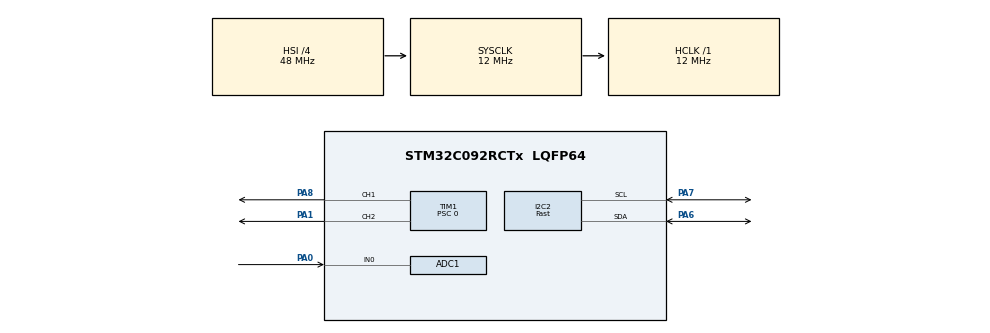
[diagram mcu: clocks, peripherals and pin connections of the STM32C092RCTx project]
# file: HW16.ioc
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ADC1.Channel-0\#ChannelRegularConversion=ADC_CHANNEL_0
ADC1.ClockPrescaler=ADC_CLOCK_SYNC_PCLK_DIV1
ADC1.NbrOfConversionFlag=1
ADC1.Overrun=ADC_OVR_DATA_PRESERVED
ADC1.Rank-0\#ChannelRegularConversion=ADC_RANK_CHANNEL_NUMBER
ADC1.SamplingTime-0\#ChannelRegularConversion=ADC_SAMPLINGTIME_COMMON_1
ADC1.SamplingTimeCommon1=ADC_SAMPLETIME_1CYCLE_5
ADC1.SamplingTimeCommon2=ADC_SAMPLETIME_1CYCLE_5
ADC1.SelectedChannel=ADC_CHANNEL_0
ADC1.TriggerFrequencyMode=ADC_TRIGGER_FREQ_HIGH
ADC1.master=1
I2C2.I2C_Coeff_DF=2
I2C2.I2C_Fall_Time=10
I2C2.I2C_Speed_Mode=I2C_Fast
I2C2.Timing=0x00402D41
Mcu.Family=STM32C0
Mcu.Name=STM32C092RCTx
Mcu.Package=LQFP64
NUCLEO-C092RC.BUTTON=1
NUCLEO-C092RC.LD1=true
NUCLEO-C092RC.LD2=true
NUCLEO-C092RC.VCP=true
NVIC.EXTI4_15_IRQn=true\:0\:0\:false\:false\:true\:false\:true\:true
NVIC.TIM2_IRQn=true\:3\:0\:false\:false\:true\:true\:true\:true
PA0.Mode=IN0
PA0.Signal=ADC1_IN0
PA1.Signal=S_TIM1_CH2
PA13.GPIO_Label=SWDIO
PA13.Signal=DEBUG_SWDIO
PA14-BOOT0.GPIO_Label=SWCLK
PA14-BOOT0.Signal=DEBUG_SWCLK
PA2.Signal=USART2_TX
PA3.Signal=USART2_RX
PA6.GPIO_Pu=GPIO_PULLUP
PA6.GPIO_Speed=GPIO_SPEED_FREQ_HIGH
PA6.Mode=I2C
PA6.Signal=I2C2_SDA
PA7.GPIO_Pu=GPIO_PULLUP
PA7.GPIO_Speed=GPIO_SPEED_FREQ_HIGH
PA7.Mode=I2C
PA7.Signal=I2C2_SCL
PA8.Signal=S_TIM1_CH1
PC14-OSCX_IN(PC14).GPIO_Label=OSCX_IN
PC14-OSCX_IN(PC14).Signal=RCC_OSCX_IN
PC15-OSCX_OUT(PC15).GPIO_Label=OSCX_OUT
PC15-OSCX_OUT(PC15).Signal=RCC_OSCX_OUT
PF0-OSC_IN(PF0).GPIO_Label=OSC_IN
PF0-OSC_IN(PF0).Signal=RCC_OSC_IN
PF1-OSC_OUT(PF1).GPIO_Label=OSC_OUT
PF1-OSC_OUT(PF1).Signal=RCC_OSC_OUT
ProjectManager.HeapSize=0x200
ProjectManager.StackSize=0x400
ProjectManager.TargetToolchain=CMake
RCC.ADCFreq_Value=12000000
RCC.AHBFreq_Value=12000000
RCC.CortexFreq_Value=12000000
RCC.EXTERNAL_CLOCK_VALUE=12288000
RCC.HCLKFreq_Value=12000000
RCC.HSE_VALUE=8000000
RCC.HSISYSCLKDivider=RCC_HSI_DIV4
RCC.HSI_VALUE=48000000
RCC.LSE_VALUE=32768
RCC.SYSCLKFreq_VALUE=12000000
SH.S_TIM1_CH1.0=TIM1_CH1,PWM Generation1 CH1
SH.S_TIM1_CH2.0=TIM1_CH2,PWM Generation2 CH2
TIM1.Channel-PWM\ Generation1\ CH1=TIM_CHANNEL_1
TIM1.Channel-PWM\ Generation2\ CH2=TIM_CHANNEL_2
TIM1.CounterMode=TIM_COUNTERMODE_UP
TIM1.Period=2399
TIM1.Prescaler=0
TIM1.Pulse-PWM\ Generation1\ CH1=0
TIM1.Pulse-PWM\ Generation2\ CH2=0
TIM2.CounterMode=TIM_COUNTERMODE_UP
TIM2.Period=999
TIM2.Prescaler=11
VP_NUCLEO-C092RC_VS_BSP_COMMON.Mode=COMMON
VP_TIM1_VS_ClockSourceINT.Mode=Internal
VP_TIM2_VS_ClockSourceINT.Mode=Internal
board=NUCLEO-C092RC

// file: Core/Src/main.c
/* USER CODE BEGIN Header */
/**
  ******************************************************************************
  * @file           : main.c
  * @brief          : Main program body
  ******************************************************************************
  * @attention
  *
  * Copyright (c) 2026 STMicroelectronics.
  * All rights reserved.
  *
  * This software is licensed under terms that can be found in the LICENSE file
  * in the root directory of this software component.
  * If no LICENSE file comes with this software, it is provided AS-IS.
  *
  ******************************************************************************
  */
/* USER CODE END Header */
#include "main.h"

/* USER CODE BEGIN PD */
#define INA219_ADDR 0x40
#define INA219_REG_CONFIG 0x00
#define INA219_REG_SHUNT_VOLTAGE 0x01
#define INA219_REG_BUS_VOLTAGE 0x02
#define INA219_REG_POWER 0x03
#define INA219_REG_CURRENT 0x04
#define INA219_REG_CALIBRATION 0x05

#define ADC_SAFE_MIN 250U
#define ADC_SAFE_MAX (4095U - ADC_SAFE_MIN)
#define PWM_PERIOD_COUNTS 2399U
#define PWM_OFF_COUNTS (PWM_PERIOD_COUNTS + 1U)
#define CONTROL_SAMPLES 800U
#define CONTROL_SEGMENT_SAMPLES 200U
#define DESIRED_CURRENT_RAW 450
#define CURRENT_KP 2.0f
#define CURRENT_KI 0.06f
#define CURRENT_FILTER_ALPHA 0.08f
#define CURRENT_INTEGRAL_LIMIT 30000.0f
#define CURRENT_CONTROL_LIMIT 2200.0f
#define ADC_LOW_START_THRESHOLD 400U

/* USER CODE END PD */

ADC_HandleTypeDef hadc1;

I2C_HandleTypeDef hi2c2;

TIM_HandleTypeDef htim1;
TIM_HandleTypeDef htim2;

COM_InitTypeDef BspCOMInit;

/* USER CODE BEGIN PV */
volatile uint8_t state = 0;
static volatile uint8_t ina219_ok = 1;
static volatile uint16_t log_count = 0;
static volatile uint16_t adc_log[CONTROL_SAMPLES];
static volatile int16_t desired_current_log[CONTROL_SAMPLES];
static volatile int16_t actual_current_log[CONTROL_SAMPLES];
static volatile int16_t pwm_log[CONTROL_SAMPLES];

/* USER CODE END PV */

void SystemClock_Config(void);
static void MX_ADC1_Init(void);
static void MX_I2C2_Init(void);
static void MX_TIM1_Init(void);
static void MX_TIM2_Init(void);
static void MX_GPIO_Init(void);
/* USER CODE BEGIN PFP */
uint32_t read_adc(void);
void init_ina219(void);
float read_ina219(void);
void writeINA219(int reg, int value);
signed short readINA219(unsigned char reg);
int __io_getchar(void);
static void motor_off(void);
static void set_motor_pwm(float control);
static void print_control_log(void);

/* USER CODE END PFP */

/* USER CODE BEGIN 0 */
extern UART_HandleTypeDef hcom_uart[];

uint32_t read_adc(void)
{
  uint32_t raw;

  HAL_ADC_Start(&hadc1);
  if (HAL_ADC_PollForConversion(&hadc1, 10) == HAL_OK)
  {
    raw = HAL_ADC_GetValue(&hadc1);
  }
  else
  {
    raw = 0;
  }
  HAL_ADC_Stop(&hadc1);

  return raw;
}

void init_ina219(void)
{
  unsigned short ina219_calValue = 1024;
  unsigned short ina219_config = 0b0011000010001111;

  writeINA219(INA219_REG_CALIBRATION, ina219_calValue);
  writeINA219(INA219_REG_CONFIG, ina219_config);
}

float read_ina219(void)
{
  float ma = 0;
  signed short value = readINA219(INA219_REG_CURRENT);

  ma = value / 3.0f;
  return ma;
}

void writeINA219(int reg, int value)
{
  uint8_t buf[3];

  buf[0] = reg;
  buf[1] = value >> 8;
  buf[2] = value & 0xff;

  if (HAL_I2C_Master_Transmit(&hi2c2, INA219_ADDR << 1, buf, 3, 10) != HAL_OK)
  {
    ina219_ok = 0;
  }
}

signed short readINA219(unsigned char reg)
{
  uint8_t buffer[2] = {0};

  if ((HAL_I2C_Master_Transmit(&hi2c2, INA219_ADDR << 1, &reg, 1, 10) != HAL_OK) ||
      (HAL_I2C_Master_Receive(&hi2c2, INA219_ADDR << 1, buffer, 2, 10) != HAL_OK))
  {
    ina219_ok = 0;
    return 0;
  }

  ina219_ok = 1;
  return (signed short)((buffer[0] << 8) | buffer[1]);
}

static void motor_off(void)
{
  __HAL_TIM_SET_COMPARE(&htim1, TIM_CHANNEL_1, PWM_OFF_COUNTS);
  __HAL_TIM_SET_COMPARE(&htim1, TIM_CHANNEL_2, PWM_OFF_COUNTS);
}

static void set_motor_pwm(float control)
{
  uint32_t magnitude;
  uint32_t drive_compare;

  if (control > PWM_OFF_COUNTS)
  {
    control = PWM_OFF_COUNTS;
  }
  else if (control < -(float)PWM_OFF_COUNTS)
  {
    control = -(float)PWM_OFF_COUNTS;
  }

  if (control > 0.0f)
  {
    magnitude = (uint32_t)control;
    drive_compare = PWM_OFF_COUNTS - magnitude;
    __HAL_TIM_SET_COMPARE(&htim1, TIM_CHANNEL_1, PWM_OFF_COUNTS);
    __HAL_TIM_SET_COMPARE(&htim1, TIM_CHANNEL_2, drive_compare);
  }
  else if (control < 0.0f)
  {
    magnitude = (uint32_t)(-control);
    drive_compare = PWM_OFF_COUNTS - magnitude;
    __HAL_TIM_SET_COMPARE(&htim1, TIM_CHANNEL_2, PWM_OFF_COUNTS);
    __HAL_TIM_SET_COMPARE(&htim1, TIM_CHANNEL_1, drive_compare);
  }
  else
  {
    motor_off();
  }
}

static void print_control_log(void)
{
  uint16_t count = log_count;

  printf("run_complete samples=%u limits=%u..%u\r\n", count, ADC_SAFE_MIN, ADC_SAFE_MAX);
  printf("idx,desired_ma3,current_ma3,pwm_cmd,adc\r\n");
  for (uint16_t i = 0; i < count; i++)
  {
    printf("%u,%d,%d,%d,%u\r\n",
           i,
           desired_current_log[i],
           actual_current_log[i],
           pwm_log[i],
           adc_log[i]);
  }
}

/* USER CODE END 0 */

int main(void)
{

  /* MCU Configuration--------------------------------------------------------*/

  /* Reset of all peripherals, Initializes the Flash interface and the Systick. */
  HAL_Init();

  /* Configure the system clock */
  SystemClock_Config();

  /* Initialize all configured peripherals */
  MX_GPIO_Init();
  MX_ADC1_Init();
  MX_I2C2_Init();
  MX_TIM1_Init();
  MX_TIM2_Init();
  /* USER CODE BEGIN 2 */
  if (HAL_ADCEx_Calibration_Start(&hadc1) != HAL_OK)
  {
    Error_Handler();
  }

  /* USER CODE END 2 */

  /* Initialize leds */
  BSP_LED_Init(LED_GREEN);
  BSP_LED_Init(LED_BLUE);

  /* Initialize USER push-button, will be used to trigger an interrupt each time it's pressed.*/
  BSP_PB_Init(BUTTON_USER, BUTTON_MODE_EXTI);

  /* Initialize COM1 port (115200, 8 bits (7-bit data + 1 stop bit), no parity */
  BspCOMInit.BaudRate   = 115200;
  BspCOMInit.WordLength = COM_WORDLENGTH_8B;
  BspCOMInit.StopBits   = COM_STOPBITS_1;
  BspCOMInit.Parity     = COM_PARITY_NONE;
  BspCOMInit.HwFlowCtl  = COM_HWCONTROL_NONE;
  if (BSP_COM_Init(COM1, &BspCOMInit) != BSP_ERROR_NONE)
  {
    Error_Handler();
  }

  printf("\r\nHW16 ready. Send 'a' to run current control.\r\n");

  init_ina219();
  motor_off();
  if (HAL_TIM_PWM_Start(&htim1, TIM_CHANNEL_1) != HAL_OK)
  {
    Error_Handler();
  }
  if (HAL_TIM_PWM_Start(&htim1, TIM_CHANNEL_2) != HAL_OK)
  {
    Error_Handler();
  }
  if (HAL_TIM_Base_Start_IT(&htim2) != HAL_OK)
  {
    Error_Handler();
  }

  /* Infinite loop */
  /* USER CODE BEGIN WHILE */
  while (1)
  {
    int ch = __io_getchar();
    if ((ch == 'a') || (ch == 'A'))
    {
      log_count = 0;
      state = 1;
      while (state == 1)
      {
      }
      print_control_log();
      printf("ready\r\n");
    }

    /* USER CODE END WHILE */

  }
}

void SystemClock_Config(void)
{
  RCC_OscInitTypeDef RCC_OscInitStruct = {0};
  RCC_ClkInitTypeDef RCC_ClkInitStruct = {0};

  __HAL_FLASH_SET_LATENCY(FLASH_LATENCY_0);

  /** Initializes the RCC Oscillators according to the specified parameters
  * in the RCC_OscInitTypeDef structure.
  */
  RCC_OscInitStruct.OscillatorType = RCC_OSCILLATORTYPE_HSI;
  RCC_OscInitStruct.HSIState = RCC_HSI_ON;
  RCC_OscInitStruct.HSIDiv = RCC_HSI_DIV4;
  RCC_OscInitStruct.HSICalibrationValue = RCC_HSICALIBRATION_DEFAULT;
  if (HAL_RCC_OscConfig(&RCC_OscInitStruct) != HAL_OK)
  {
    Error_Handler();
  }

  /** Initializes the CPU, AHB and APB buses clocks
  */
  RCC_ClkInitStruct.ClockType = RCC_CLOCKTYPE_HCLK|RCC_CLOCKTYPE_SYSCLK
                              |RCC_CLOCKTYPE_PCLK1;
  RCC_ClkInitStruct.SYSCLKSource = RCC_SYSCLKSOURCE_HSI;
  RCC_ClkInitStruct.SYSCLKDivider = RCC_SYSCLK_DIV1;
  RCC_ClkInitStruct.AHBCLKDivider = RCC_HCLK_DIV1;
  RCC_ClkInitStruct.APB1CLKDivider = RCC_APB1_DIV1;

  if (HAL_RCC_ClockConfig(&RCC_ClkInitStruct, FLASH_LATENCY_0) != HAL_OK)
  {
    Error_Handler();
  }
}

static void MX_ADC1_Init(void)
{
  ADC_ChannelConfTypeDef sConfig = {0};
  GPIO_InitTypeDef GPIO_InitStruct = {0};

  __HAL_RCC_GPIOA_CLK_ENABLE();
  __HAL_RCC_ADC_CLK_ENABLE();

  GPIO_InitStruct.Pin = GPIO_PIN_0;
  GPIO_InitStruct.Mode = GPIO_MODE_ANALOG;
  GPIO_InitStruct.Pull = GPIO_NOPULL;
  HAL_GPIO_Init(GPIOA, &GPIO_InitStruct);

  hadc1.Instance = ADC1;
  hadc1.Init.ClockPrescaler = ADC_CLOCK_SYNC_PCLK_DIV1;
  hadc1.Init.Resolution = ADC_RESOLUTION_12B;
  hadc1.Init.DataAlign = ADC_DATAALIGN_RIGHT;
  hadc1.Init.ScanConvMode = ADC_SCAN_SEQ_FIXED;
  hadc1.Init.EOCSelection = ADC_EOC_SINGLE_CONV;
  hadc1.Init.LowPowerAutoWait = DISABLE;
  hadc1.Init.LowPowerAutoPowerOff = DISABLE;
  hadc1.Init.ContinuousConvMode = DISABLE;
  hadc1.Init.NbrOfConversion = 1;
  hadc1.Init.DiscontinuousConvMode = DISABLE;
  hadc1.Init.ExternalTrigConv = ADC_SOFTWARE_START;
  hadc1.Init.ExternalTrigConvEdge = ADC_EXTERNALTRIGCONVEDGE_NONE;
  hadc1.Init.DMAContinuousRequests = DISABLE;
  hadc1.Init.Overrun = ADC_OVR_DATA_PRESERVED;
  hadc1.Init.SamplingTimeCommon1 = ADC_SAMPLETIME_1CYCLE_5;
  hadc1.Init.OversamplingMode = DISABLE;
  hadc1.Init.TriggerFrequencyMode = ADC_TRIGGER_FREQ_HIGH;
  if (HAL_ADC_Init(&hadc1) != HAL_OK)
  {
    Error_Handler();
  }

  sConfig.Channel = ADC_CHANNEL_0;
  sConfig.Rank = ADC_RANK_CHANNEL_NUMBER;
  if (HAL_ADC_ConfigChannel(&hadc1, &sConfig) != HAL_OK)
  {
    Error_Handler();
  }
}

static void MX_I2C2_Init(void)
{
  GPIO_InitTypeDef GPIO_InitStruct = {0};

  __HAL_RCC_GPIOA_CLK_ENABLE();
  __HAL_RCC_I2C2_CLK_ENABLE();

  GPIO_InitStruct.Pin = GPIO_PIN_6 | GPIO_PIN_7;
  GPIO_InitStruct.Mode = GPIO_MODE_AF_OD;
  GPIO_InitStruct.Pull = GPIO_PULLUP;
  GPIO_InitStruct.Speed = GPIO_SPEED_FREQ_HIGH;
  GPIO_InitStruct.Alternate = GPIO_AF6_I2C2;
  HAL_GPIO_Init(GPIOA, &GPIO_InitStruct);

  hi2c2.Instance = I2C2;
  hi2c2.Init.Timing = 0x00402D41;
  hi2c2.Init.OwnAddress1 = 0;
  hi2c2.Init.AddressingMode = I2C_ADDRESSINGMODE_7BIT;
  hi2c2.Init.DualAddressMode = I2C_DUALADDRESS_DISABLE;
  hi2c2.Init.OwnAddress2 = 0;
  hi2c2.Init.OwnAddress2Masks = I2C_OA2_NOMASK;
  hi2c2.Init.GeneralCallMode = I2C_GENERALCALL_DISABLE;
  hi2c2.Init.NoStretchMode = I2C_NOSTRETCH_DISABLE;
  if (HAL_I2C_Init(&hi2c2) != HAL_OK)
  {
    Error_Handler();
  }
  if (HAL_I2CEx_ConfigAnalogFilter(&hi2c2, I2C_ANALOGFILTER_ENABLE) != HAL_OK)
  {
    Error_Handler();
  }
  if (HAL_I2CEx_ConfigDigitalFilter(&hi2c2, 0) != HAL_OK)
  {
    Error_Handler();
  }
}

static void MX_TIM1_Init(void)
{
  TIM_OC_InitTypeDef sConfigOC = {0};
  GPIO_InitTypeDef GPIO_InitStruct = {0};

  __HAL_RCC_GPIOA_CLK_ENABLE();
  __HAL_RCC_TIM1_CLK_ENABLE();

  htim1.Instance = TIM1;
  htim1.Init.Prescaler = 0;
  htim1.Init.CounterMode = TIM_COUNTERMODE_UP;
  htim1.Init.Period = PWM_PERIOD_COUNTS;
  htim1.Init.ClockDivision = TIM_CLOCKDIVISION_DIV1;
  htim1.Init.RepetitionCounter = 0;
  htim1.Init.AutoReloadPreload = TIM_AUTORELOAD_PRELOAD_DISABLE;
  if (HAL_TIM_PWM_Init(&htim1) != HAL_OK)
  {
    Error_Handler();
  }

  sConfigOC.OCMode = TIM_OCMODE_PWM1;
  sConfigOC.Pulse = 0;
  sConfigOC.OCPolarity = TIM_OCPOLARITY_HIGH;
  sConfigOC.OCNPolarity = TIM_OCNPOLARITY_HIGH;
  sConfigOC.OCFastMode = TIM_OCFAST_DISABLE;
  sConfigOC.OCIdleState = TIM_OCIDLESTATE_RESET;
  sConfigOC.OCNIdleState = TIM_OCNIDLESTATE_RESET;
  if (HAL_TIM_PWM_ConfigChannel(&htim1, &sConfigOC, TIM_CHANNEL_1) != HAL_OK)
  {
    Error_Handler();
  }
  if (HAL_TIM_PWM_ConfigChannel(&htim1, &sConfigOC, TIM_CHANNEL_2) != HAL_OK)
  {
    Error_Handler();
  }

  GPIO_InitStruct.Pin = GPIO_PIN_8;
  GPIO_InitStruct.Mode = GPIO_MODE_AF_PP;
  GPIO_InitStruct.Pull = GPIO_NOPULL;
  GPIO_InitStruct.Speed = GPIO_SPEED_FREQ_LOW;
  GPIO_InitStruct.Alternate = GPIO_AF2_TIM1;
  HAL_GPIO_Init(GPIOA, &GPIO_InitStruct);

  GPIO_InitStruct.Pin = GPIO_PIN_1;
  GPIO_InitStruct.Alternate = GPIO_AF5_TIM1;
  HAL_GPIO_Init(GPIOA, &GPIO_InitStruct);
}

static void MX_TIM2_Init(void)
{
  __HAL_RCC_TIM2_CLK_ENABLE();

  htim2.Instance = TIM2;
  htim2.Init.Prescaler = 11;
  htim2.Init.CounterMode = TIM_COUNTERMODE_UP;
  htim2.Init.Period = 999;
  htim2.Init.ClockDivision = TIM_CLOCKDIVISION_DIV1;
  htim2.Init.AutoReloadPreload = TIM_AUTORELOAD_PRELOAD_DISABLE;
  if (HAL_TIM_Base_Init(&htim2) != HAL_OK)
  {
    Error_Handler();
  }

  HAL_NVIC_SetPriority(TIM2_IRQn, 3, 0);
  HAL_NVIC_EnableIRQ(TIM2_IRQn);
}

static void MX_GPIO_Init(void)
{

  /* GPIO Ports Clock Enable */
  __HAL_RCC_GPIOC_CLK_ENABLE();
  __HAL_RCC_GPIOF_CLK_ENABLE();
  __HAL_RCC_GPIOA_CLK_ENABLE();

}

/* USER CODE BEGIN 4 */
void HAL_TIM_PeriodElapsedCallback(TIM_HandleTypeDef *htim)
{
  static volatile uint16_t counter = 0;
  static float current_error_integral = 0.0f;
  static float filtered_current = 0.0f;
  static int16_t run_direction = 1;
  uint32_t adc;

  if (htim == &htim2)
  {
    adc = read_adc();

    if ((adc < ADC_SAFE_MIN) || (adc > ADC_SAFE_MAX))
    {
      motor_off();
      state = 0;
      log_count = counter;
      counter = 0;
      current_error_integral = 0.0f;
      filtered_current = 0.0f;
      return;
    }

    if (state == 1)
    {
      int16_t desired_current;
      int16_t raw_current;
      int16_t actual_current;
      int16_t pwm_command;
      int32_t current_error;
      float control;

      if (counter == 0)
      {
        run_direction = (adc < ADC_LOW_START_THRESHOLD) ? -1 : 1;
        current_error_integral = 0.0f;
        filtered_current = 0.0f;
      }
      else if ((counter % CONTROL_SEGMENT_SAMPLES) == 0U)
      {
        current_error_integral = 0.0f;
      }

      if (((counter / CONTROL_SEGMENT_SAMPLES) % 2U) == 0U)
      {
        desired_current = run_direction * DESIRED_CURRENT_RAW;
      }
      else
      {
        desired_current = -run_direction * DESIRED_CURRENT_RAW;
      }

      raw_current = readINA219(INA219_REG_CURRENT);
      if (ina219_ok == 0)
      {
        motor_off();
        state = 0;
        log_count = counter;
        counter = 0;
        current_error_integral = 0.0f;
        filtered_current = 0.0f;
        return;
      }

      filtered_current += CURRENT_FILTER_ALPHA * ((float)raw_current - filtered_current);
      actual_current = (int16_t)filtered_current;
      current_error = desired_current - actual_current;
      current_error_integral += (float)current_error;
      if (current_error_integral > CURRENT_INTEGRAL_LIMIT)
      {
        current_error_integral = CURRENT_INTEGRAL_LIMIT;
      }
      else if (current_error_integral < -CURRENT_INTEGRAL_LIMIT)
      {
        current_error_integral = -CURRENT_INTEGRAL_LIMIT;
      }
      control = (CURRENT_KP * (float)current_error) + (CURRENT_KI * current_error_integral);
      if (control > CURRENT_CONTROL_LIMIT)
      {
        control = CURRENT_CONTROL_LIMIT;
      }
      else if (control < -CURRENT_CONTROL_LIMIT)
      {
        control = -CURRENT_CONTROL_LIMIT;
      }
      pwm_command = (int16_t)control;
      set_motor_pwm((float)pwm_command);

      if (counter < CONTROL_SAMPLES)
      {
        adc_log[counter] = adc;
        desired_current_log[counter] = desired_current;
        actual_current_log[counter] = actual_current;
        pwm_log[counter] = pwm_command;
      }

      counter++;
      log_count = counter;

      if (counter >= CONTROL_SAMPLES)
      {
        motor_off();
        state = 0;
        counter = 0;
        current_error_integral = 0.0f;
        filtered_current = 0.0f;
      }
    }
  }
}

int __io_getchar(void)
{
  uint8_t ch = 0;

  if (HAL_UART_Receive(&hcom_uart[COM1], &ch, 1, HAL_MAX_DELAY) != HAL_OK)
  {
    return -1;
  }

  return ch;
}

/* USER CODE END 4 */

void Error_Handler(void)
{
  __disable_irq();
  while (1)
  {
  }
}
